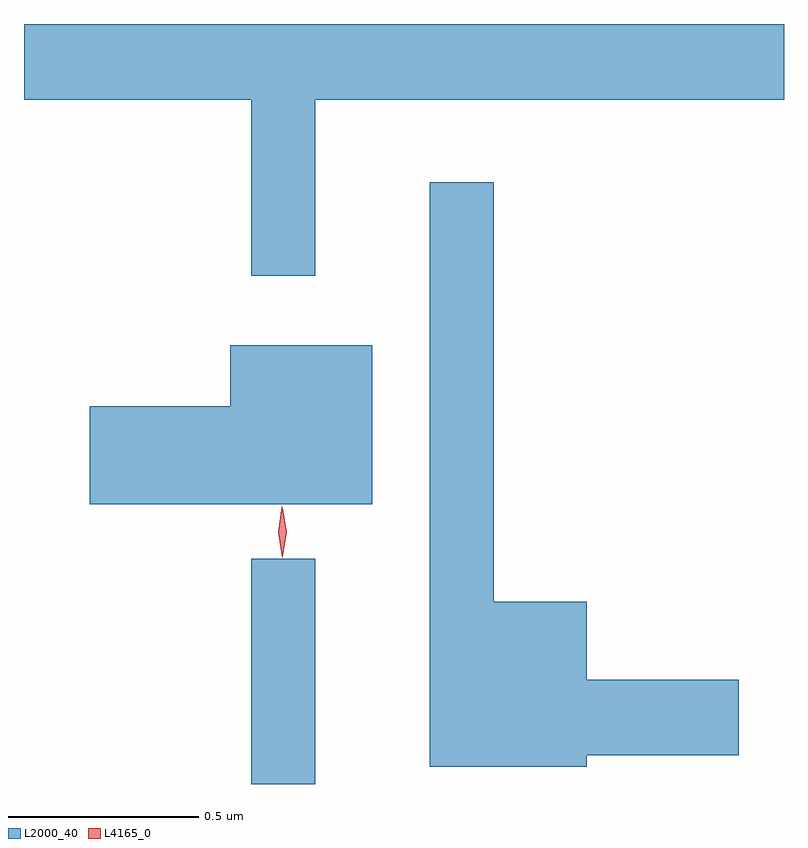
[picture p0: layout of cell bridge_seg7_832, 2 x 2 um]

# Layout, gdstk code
import gdstk
lib = gdstk.Library(unit=1e-6, precision=1e-09)
def R(c, l, rs):  # rectangles x0, y0, x1, y1
    for r in rs: c.add(gdstk.rectangle(r[:2], r[2:], *l))
def P(c, l, *ps):  # polygons
    for p in ps: c.add(gdstk.Polygon(p, *l))
L2000_40 = (2000, 40)
L4165_0 = (4165, 0)

bridge_seg7_832 = lib.new_cell('bridge_seg7_832')
R(bridge_seg7_832, L2000_40, [(373.711,1781.335,373.879,1781.928)])
P(bridge_seg7_832, L2000_40, [(373.113,1783.136),(373.711,1783.136),(373.711,1782.673),(373.879,1782.673),(373.879,1783.136),(375.113,1783.136),(375.113,1783.335),(373.113,1783.335)],
  [(374.594,1781.411),(374.994,1781.411),(374.994,1781.609),(374.594,1781.609),(374.594,1781.814),(374.349,1781.814),(374.349,1782.918),(374.181,1782.918),(374.181,1781.381),(374.594,1781.381)],
  [(374.029,1782.489),(373.656,1782.489),(373.656,1782.329),(373.286,1782.329),(373.286,1782.071),(374.029,1782.071)])
P(bridge_seg7_832, L4165_0, [(373.794,1781.933),(373.793,1781.934),(373.784,1781.997),(373.793,1782.059),(373.794,1782.06),(373.794,1782.059),(373.804,1781.997),(373.794,1781.934)],
  [(373.792,1781.93),(373.792,1781.93),(373.782,1781.998),(373.791,1782.065),(373.791,1782.066),(373.792,1782.065),(373.802,1781.998),(373.793,1781.93)])

lib.write_gds('bridge_seg7_832.gds')
